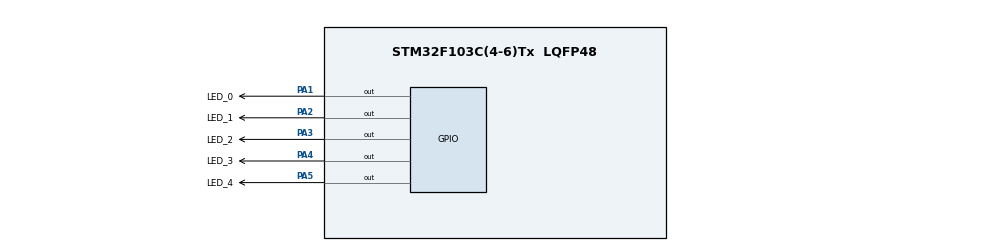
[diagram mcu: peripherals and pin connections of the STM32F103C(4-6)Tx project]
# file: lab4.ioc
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Mcu.Family=STM32F1
Mcu.Name=STM32F103C(4-6)Tx
Mcu.Package=LQFP48
NVIC.PriorityGroup=NVIC_PRIORITYGROUP_4
NVIC.TIM2_IRQn=true\:0\:0\:false\:false\:true\:true\:true\:true
PA1.GPIO_Label=LED_0
PA1.Signal=GPIO_Output
PA2.GPIO_Label=LED_1
PA2.Signal=GPIO_Output
PA3.GPIO_Label=LED_2
PA3.Signal=GPIO_Output
PA4.GPIO_Label=LED_3
PA4.Signal=GPIO_Output
PA5.GPIO_Label=LED_4
PA5.Signal=GPIO_Output
ProjectManager.HeapSize=0x200
ProjectManager.StackSize=0x400
ProjectManager.TargetToolchain=STM32CubeIDE
RCC.APB1Freq_Value=8000000
RCC.APB2Freq_Value=8000000
TIM2.Period=9
TIM2.Prescaler=7999
VP_TIM2_VS_ClockSourceINT.Mode=Internal
board=custom

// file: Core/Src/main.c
/* USER CODE BEGIN Header */
/**
  ******************************************************************************
  * @file           : main.c
  * @brief          : Main program body
  ******************************************************************************
  * @attention
  *
  * Copyright (c) 2022 STMicroelectronics.
  * All rights reserved.
  *
  * This software is licensed under terms that can be found in the LICENSE file
  * in the root directory of this software component.
  * If no LICENSE file comes with this software, it is provided AS-IS.
  *
  ******************************************************************************
  */
/* USER CODE END Header */
#include "main.h"

/* USER CODE BEGIN Includes */
#include "scheduler.h"
/* USER CODE END Includes */

TIM_HandleTypeDef htim2;

void SystemClock_Config(void);
static void MX_GPIO_Init(void);
static void MX_TIM2_Init(void);

/* USER CODE BEGIN 0 */

void ledOneShot()
{
	HAL_GPIO_TogglePin(LED_0_GPIO_Port, LED_0_Pin);
}
void led_1()
{
	HAL_GPIO_TogglePin(LED_1_GPIO_Port, LED_1_Pin);
}
void led_2()
{
	HAL_GPIO_TogglePin(LED_2_GPIO_Port, LED_2_Pin);
}
void led_3()
{
	HAL_GPIO_TogglePin(LED_3_GPIO_Port, LED_3_Pin);
}
void led_4()
{
	HAL_GPIO_TogglePin(LED_4_GPIO_Port, LED_4_Pin);
}
/* USER CODE END 0 */

int main(void)
{

  /* MCU Configuration--------------------------------------------------------*/

  /* Reset of all peripherals, Initializes the Flash interface and the Systick. */
  HAL_Init();

  /* Configure the system clock */
  SystemClock_Config();

  /* Initialize all configured peripherals */
  MX_GPIO_Init();
  MX_TIM2_Init();
  /* USER CODE BEGIN 2 */
  HAL_TIM_Base_Start_IT(&htim2);
  /* USER CODE END 2 */

  /* Infinite loop */
  /* USER CODE BEGIN WHILE */
  SCH_INIT();

  SCH_Add_Tasks(led_1,101, 80);
  SCH_Add_Tasks(led_2, 111, 80);
  SCH_Add_Tasks(led_3, 121, 80);
  SCH_Add_Tasks(led_4, 131, 80);
  SCH_Add_Tasks(ledOneShot, 550, 0);
  while (1)
  {
	  SCH_Dispatch_Tasks();
    /* USER CODE END WHILE */

  }
}

void SystemClock_Config(void)
{
  RCC_OscInitTypeDef RCC_OscInitStruct = {0};
  RCC_ClkInitTypeDef RCC_ClkInitStruct = {0};

  /** Initializes the RCC Oscillators according to the specified parameters
  * in the RCC_OscInitTypeDef structure.
  */
  RCC_OscInitStruct.OscillatorType = RCC_OSCILLATORTYPE_HSI;
  RCC_OscInitStruct.HSIState = RCC_HSI_ON;
  RCC_OscInitStruct.HSICalibrationValue = RCC_HSICALIBRATION_DEFAULT;
  RCC_OscInitStruct.PLL.PLLState = RCC_PLL_NONE;
  if (HAL_RCC_OscConfig(&RCC_OscInitStruct) != HAL_OK)
  {
    Error_Handler();
  }

  /** Initializes the CPU, AHB and APB buses clocks
  */
  RCC_ClkInitStruct.ClockType = RCC_CLOCKTYPE_HCLK|RCC_CLOCKTYPE_SYSCLK
                              |RCC_CLOCKTYPE_PCLK1|RCC_CLOCKTYPE_PCLK2;
  RCC_ClkInitStruct.SYSCLKSource = RCC_SYSCLKSOURCE_HSI;
  RCC_ClkInitStruct.AHBCLKDivider = RCC_SYSCLK_DIV1;
  RCC_ClkInitStruct.APB1CLKDivider = RCC_HCLK_DIV1;
  RCC_ClkInitStruct.APB2CLKDivider = RCC_HCLK_DIV1;

  if (HAL_RCC_ClockConfig(&RCC_ClkInitStruct, FLASH_LATENCY_0) != HAL_OK)
  {
    Error_Handler();
  }
}

static void MX_TIM2_Init(void)
{

  TIM_ClockConfigTypeDef sClockSourceConfig = {0};
  TIM_MasterConfigTypeDef sMasterConfig = {0};

  htim2.Instance = TIM2;
  htim2.Init.Prescaler = 7999;
  htim2.Init.CounterMode = TIM_COUNTERMODE_UP;
  htim2.Init.Period = 9;
  htim2.Init.ClockDivision = TIM_CLOCKDIVISION_DIV1;
  htim2.Init.AutoReloadPreload = TIM_AUTORELOAD_PRELOAD_DISABLE;
  if (HAL_TIM_Base_Init(&htim2) != HAL_OK)
  {
    Error_Handler();
  }
  sClockSourceConfig.ClockSource = TIM_CLOCKSOURCE_INTERNAL;
  if (HAL_TIM_ConfigClockSource(&htim2, &sClockSourceConfig) != HAL_OK)
  {
    Error_Handler();
  }
  sMasterConfig.MasterOutputTrigger = TIM_TRGO_RESET;
  sMasterConfig.MasterSlaveMode = TIM_MASTERSLAVEMODE_DISABLE;
  if (HAL_TIMEx_MasterConfigSynchronization(&htim2, &sMasterConfig) != HAL_OK)
  {
    Error_Handler();
  }

}

static void MX_GPIO_Init(void)
{
  GPIO_InitTypeDef GPIO_InitStruct = {0};

  /* GPIO Ports Clock Enable */
  __HAL_RCC_GPIOA_CLK_ENABLE();

  /*Configure GPIO pin Output Level */
  HAL_GPIO_WritePin(GPIOA, LED_0_Pin|LED_1_Pin|LED_2_Pin|LED_3_Pin
                          |LED_4_Pin, GPIO_PIN_RESET);

  /*Configure GPIO pins : LED_0_Pin LED_1_Pin LED_2_Pin LED_3_Pin
                           LED_4_Pin */
  GPIO_InitStruct.Pin = LED_0_Pin|LED_1_Pin|LED_2_Pin|LED_3_Pin
                          |LED_4_Pin;
  GPIO_InitStruct.Mode = GPIO_MODE_OUTPUT_PP;
  GPIO_InitStruct.Pull = GPIO_NOPULL;
  GPIO_InitStruct.Speed = GPIO_SPEED_FREQ_LOW;
  HAL_GPIO_Init(GPIOA, &GPIO_InitStruct);

}

/* USER CODE BEGIN 4 */
void HAL_TIM_PeriodElapsedCallback ( TIM_HandleTypeDef * htim )
{
	SCH_Update();

}
/* USER CODE END 4 */

void Error_Handler(void)
{
  __disable_irq();
  while (1)
  {
  }
}
